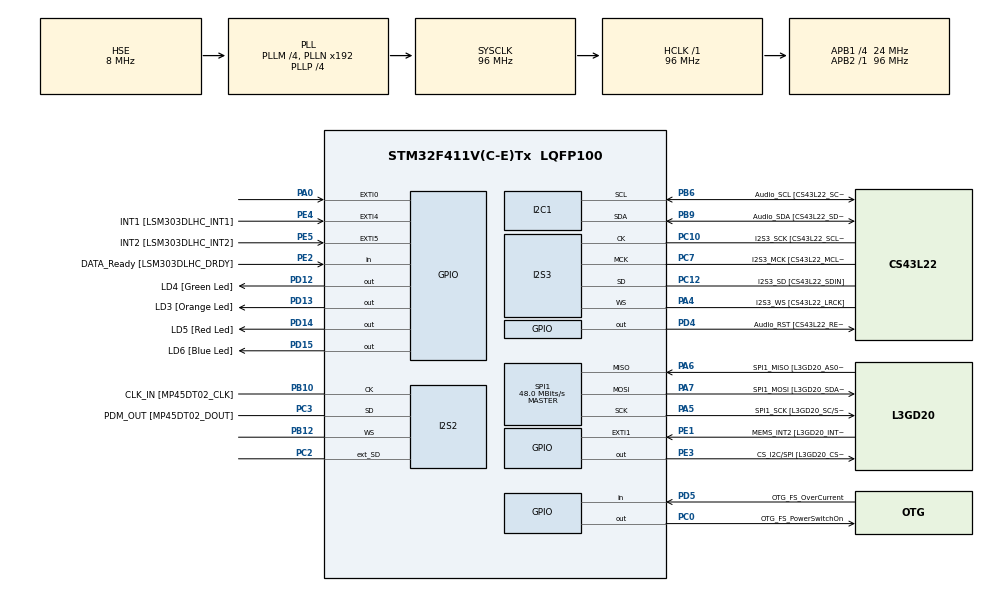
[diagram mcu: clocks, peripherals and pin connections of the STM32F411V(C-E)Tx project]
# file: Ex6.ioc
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FREERTOS.INCLUDE_vTaskDelayUntil=1
FREERTOS.Tasks01=Start_GREEN_LED,0,128,StartFlashGreenLedTask,Default,NULL,Dynamic,NULL,NULL;Start_RED_LED,1,128,StartFlashRedLedTask,Default,NULL,Dynamic,NULL,NULL
I2S2.AudioFreq=I2S_AUDIOFREQ_96K
I2S2.ErrorAudioFreq=0.15 %
I2S2.FullDuplexMode=I2S_FULLDUPLEXMODE_ENABLE
I2S2.Instance=SPI$Index
I2S2.RealAudioFreq=96.153 KHz
I2S2.VirtualMode=I2S_MODE_MASTER
I2S3.AudioFreq=I2S_AUDIOFREQ_96K
I2S3.ErrorAudioFreq=-6.99 %
I2S3.FullDuplexMode=I2S_FULLDUPLEXMODE_DISABLE
I2S3.Instance=SPI$Index
I2S3.RealAudioFreq=89.285 KHz
I2S3.VirtualMode=I2S_MODE_MASTER
Mcu.Family=STM32F4
Mcu.Name=STM32F411V(C-E)Tx
Mcu.Package=LQFP100
NVIC.PriorityGroup=NVIC_PRIORITYGROUP_4
NVIC.TIM1_UP_TIM10_IRQn=true\:15\:0\:false\:false\:true\:false\:false\:true\:true
NVIC.TimeBase=TIM1_UP_TIM10_IRQn
NVIC.TimeBaseIP=TIM1
PA0-WKUP.GPIO_ModeDefaultEXTI=GPIO_MODE_EVT_RISING
PA0-WKUP.Signal=GPXTI0
PA10.GPIO_Label=OTG_FS_ID
PA10.Signal=USB_OTG_FS_ID
PA11.GPIO_Label=OTG_FS_DM
PA11.Signal=USB_OTG_FS_DM
PA12.GPIO_Label=OTG_FS_DP
PA12.Signal=USB_OTG_FS_DP
PA13.GPIO_Label=SWDIO
PA13.Mode=Serial_Wire
PA13.Signal=SYS_JTMS-SWDIO
PA14.GPIO_Label=SWCLK
PA14.Mode=Serial_Wire
PA14.Signal=SYS_JTCK-SWCLK
PA4.GPIO_Label=I2S3_WS [CS43L22_LRCK]
PA4.GPIO_Mode=GPIO_MODE_AF_PP
PA4.GPIO_PuPd=GPIO_NOPULL
PA4.GPIO_Speed=GPIO_SPEED_FREQ_LOW
PA4.Mode=Half_Duplex_Master
PA4.Signal=I2S3_WS
PA5.GPIO_Label=SPI1_SCK [L3GD20_SC/SPC]
PA5.Mode=Full_Duplex_Master
PA5.Signal=SPI1_SCK
PA6.GPIO_Label=SPI1_MISO [L3GD20_AS0/SDO]
PA6.Mode=Full_Duplex_Master
PA6.Signal=SPI1_MISO
PA7.GPIO_Label=SPI1_MOSI [L3GD20_SDA/SDI/SDO]
PA7.Mode=Full_Duplex_Master
PA7.Signal=SPI1_MOSI
PA9.GPIO_Label=VBUS_FS
PA9.Signal=USB_OTG_FS_VBUS
PB10.GPIO_Label=CLK_IN [MP45DT02_CLK]
PB10.Mode=Full_Duplex_Master
PB10.Signal=I2S2_CK
PB12.Mode=Full_Duplex_Master
PB12.Signal=I2S2_WS
PB3.GPIO_Label=SWO
PB3.Signal=SYS_JTDO-SWO
PB6.GPIO_Label=Audio_SCL [CS43L22_SCL]
PB6.GPIO_Mode=GPIO_MODE_AF_OD
PB6.GPIO_Pu=GPIO_PULLUP
PB6.GPIO_PuPd=GPIO_NOPULL
PB6.GPIO_Speed=GPIO_SPEED_FREQ_LOW
PB6.Mode=I2C
PB6.Signal=I2C1_SCL
PB9.GPIO_Label=Audio_SDA [CS43L22_SDA]
PB9.GPIO_Mode=GPIO_MODE_AF_OD
PB9.GPIO_Pu=GPIO_PULLUP
PB9.GPIO_PuPd=GPIO_NOPULL
PB9.GPIO_Speed=GPIO_SPEED_FREQ_LOW
PB9.Mode=I2C
PB9.Signal=I2C1_SDA
PC0.GPIO_Label=OTG_FS_PowerSwitchOn
PC0.PinState=GPIO_PIN_SET
PC0.Signal=GPIO_Output
PC10.GPIO_Label=I2S3_SCK [CS43L22_SCLK]
PC10.GPIO_Mode=GPIO_MODE_AF_PP
PC10.GPIO_PuPd=GPIO_NOPULL
PC10.GPIO_Speed=GPIO_SPEED_FREQ_LOW
PC10.Mode=Half_Duplex_Master
PC10.Signal=I2S3_CK
PC12.GPIO_Label=I2S3_SD [CS43L22_SDIN]
PC12.GPIO_Mode=GPIO_MODE_AF_PP
PC12.GPIO_PuPd=GPIO_NOPULL
PC12.GPIO_Speed=GPIO_SPEED_FREQ_LOW
PC12.Mode=Half_Duplex_Master
PC12.Signal=I2S3_SD
PC14-OSC32_IN.GPIO_Label=PC14-OSC32_IN
PC14-OSC32_IN.Mode=LSE-External-Oscillator
PC14-OSC32_IN.Signal=RCC_OSC32_IN
PC15-OSC32_OUT.GPIO_Label=PC15-OSC32_OUT
PC15-OSC32_OUT.Mode=LSE-External-Oscillator
PC15-OSC32_OUT.Signal=RCC_OSC32_OUT
PC2.Mode=Full_Duplex_Master
PC2.Signal=I2S2_ext_SD
PC3.GPIO_Label=PDM_OUT [MP45DT02_DOUT]
PC3.Mode=Full_Duplex_Master
PC3.Signal=I2S2_SD
PC7.GPIO_Label=I2S3_MCK [CS43L22_MCLK]
PC7.GPIO_Mode=GPIO_MODE_AF_PP
PC7.GPIO_PuPd=GPIO_NOPULL
PC7.GPIO_Speed=GPIO_SPEED_FREQ_LOW
PC7.Mode=Master_Clock_Activated
PC7.Signal=I2S3_MCK
PD12.GPIO_Label=LD4 [Green Led]
PD12.GPIO_PuPd=GPIO_NOPULL
PD12.GPIO_Speed=GPIO_SPEED_FREQ_LOW
PD12.Signal=GPIO_Output
PD13.GPIO_Label=LD3 [Orange Led]
PD13.GPIO_PuPd=GPIO_NOPULL
PD13.GPIO_Speed=GPIO_SPEED_FREQ_LOW
PD13.Signal=GPIO_Output
PD14.GPIO_Label=LD5 [Red Led]
PD14.GPIO_PuPd=GPIO_NOPULL
PD14.GPIO_Speed=GPIO_SPEED_FREQ_LOW
PD14.Signal=GPIO_Output
PD15.GPIO_Label=LD6 [Blue Led]
PD15.GPIO_PuPd=GPIO_NOPULL
PD15.GPIO_Speed=GPIO_SPEED_FREQ_LOW
PD15.Signal=GPIO_Output
PD4.GPIO_Label=Audio_RST [CS43L22_RESET]
PD4.Signal=GPIO_Output
PD5.GPIO_Label=OTG_FS_OverCurrent
PD5.Signal=GPIO_Input
PE1.GPIO_Label=MEMS_INT2 [L3GD20_INT2]
PE1.GPIO_ModeDefaultEXTI=GPIO_MODE_EVT_RISING
PE1.Signal=GPXTI1
PE2.GPIO_Label=DATA_Ready [LSM303DLHC_DRDY]
PE2.Signal=GPIO_Input
PE3.GPIO_Label=CS_I2C/SPI [L3GD20_CS_I2C/SPI]
PE3.Signal=GPIO_Output
PE4.GPIO_Label=INT1 [LSM303DLHC_INT1]
PE4.GPIO_ModeDefaultEXTI=GPIO_MODE_EVT_RISING
PE4.Signal=GPXTI4
PE5.GPIO_Label=INT2 [LSM303DLHC_INT2]
PE5.GPIO_ModeDefaultEXTI=GPIO_MODE_EVT_RISING
PE5.Signal=GPXTI5
PH0\ -\ OSC_IN.GPIO_Label=PH0-OSC_IN
PH0\ -\ OSC_IN.Mode=HSE-External-Oscillator
PH0\ -\ OSC_IN.Signal=RCC_OSC_IN
PH1\ -\ OSC_OUT.GPIO_Label=PH1-OSC_OUT
PH1\ -\ OSC_OUT.Mode=HSE-External-Oscillator
PH1\ -\ OSC_OUT.Signal=RCC_OSC_OUT
ProjectManager.HeapSize=0x200
ProjectManager.StackSize=0x400
ProjectManager.TargetToolchain=STM32CubeIDE
RCC.48MHZClocksFreq_Value=48000000
RCC.AHBFreq_Value=96000000
RCC.APB1CLKDivider=RCC_HCLK_DIV4
RCC.APB1Freq_Value=24000000
RCC.APB1TimFreq_Value=48000000
RCC.APB2Freq_Value=96000000
RCC.APB2TimFreq_Value=96000000
RCC.CortexFreq_Value=96000000
RCC.HCLKFreq_Value=96000000
RCC.HSE_VALUE=8000000
RCC.HSI_VALUE=16000000
RCC.PLLI2SM=5
RCC.PLLI2SN=200
RCC.PLLM=4
RCC.PLLP=RCC_PLLP_DIV4
RCC.PLLQ=8
RCC.PLLSourceVirtual=RCC_PLLSOURCE_HSE
RCC.SYSCLKFreq_VALUE=96000000
RCC.SYSCLKSource=RCC_SYSCLKSOURCE_PLLCLK
RCC.VCOOutputFreq_Value=384000000
SPI1.BaudRatePrescaler=SPI_BAUDRATEPRESCALER_2
SPI1.CalculateBaudRate=48.0 MBits/s
SPI1.Direction=SPI_DIRECTION_2LINES
SPI1.Mode=SPI_MODE_MASTER
SPI1.VirtualType=VM_MASTER
VP_FREERTOS_VS_CMSIS_V1.Mode=CMSIS_V1
VP_SYS_VS_tim1.Mode=TIM1
board=STM32F411E-DISCO

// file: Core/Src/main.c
/* USER CODE BEGIN Header */
/**
  ******************************************************************************
  * @file           : main.c
  * @brief          : Main program body
  ******************************************************************************
  * @attention
  *
  * Copyright (c) 2024 STMicroelectronics.
  * All rights reserved.
  *
  * This software is licensed under terms that can be found in the LICENSE file
  * in the root directory of this software component.
  * If no LICENSE file comes with this software, it is provided AS-IS.
  *
  ******************************************************************************
  */
/* USER CODE END Header */
#include "main.h"
#include "cmsis_os.h"

/* USER CODE BEGIN PD */
#define GREEN_LED GPIO_PIN_12
#define ORANGE_LED GPIO_PIN_13
#define RED_LED GPIO_PIN_14
#define BLUE_LED GPIO_PIN_15
/* USER CODE END PD */

I2C_HandleTypeDef hi2c1;

I2S_HandleTypeDef hi2s2;
I2S_HandleTypeDef hi2s3;

SPI_HandleTypeDef hspi1;

osThreadId Start_GREEN_LEDHandle;
osThreadId Start_RED_LEDHandle;

void SystemClock_Config(void);
void PeriphCommonClock_Config(void);
static void MX_GPIO_Init(void);
static void MX_I2C1_Init(void);
static void MX_I2S2_Init(void);
static void MX_I2S3_Init(void);
static void MX_SPI1_Init(void);
void StartFlashGreenLedTask(void const * argument);
void StartFlashRedLedTask(void const * argument);

int main(void)
{

  /* MCU Configuration--------------------------------------------------------*/

  /* Reset of all peripherals, Initializes the Flash interface and the Systick. */
  HAL_Init();

  /* Configure the system clock */
  SystemClock_Config();

/* Configure the peripherals common clocks */
  PeriphCommonClock_Config();

  /* Initialize all configured peripherals */
  MX_GPIO_Init();
  MX_I2C1_Init();
  MX_I2S2_Init();
  MX_I2S3_Init();
  MX_SPI1_Init();

  /* Create the thread(s) */
  /* definition and creation of Start_GREEN_LED */
  osThreadDef(Start_GREEN_LED, StartFlashGreenLedTask, osPriorityNormal, 0, 128);
  Start_GREEN_LEDHandle = osThreadCreate(osThread(Start_GREEN_LED), NULL);

  /* definition and creation of Start_RED_LED */
  osThreadDef(Start_RED_LED, StartFlashRedLedTask, osPriorityAboveNormal, 0, 128);
  Start_RED_LEDHandle = osThreadCreate(osThread(Start_RED_LED), NULL);

  /* Start scheduler */
  osKernelStart();

  /* We should never get here as control is now taken by the scheduler */
  /* Infinite loop */
  while (1)
  {

  }
}

void SystemClock_Config(void)
{
  RCC_OscInitTypeDef RCC_OscInitStruct = {0};
  RCC_ClkInitTypeDef RCC_ClkInitStruct = {0};

  /** Configure the main internal regulator output voltage
  */
  __HAL_RCC_PWR_CLK_ENABLE();
  __HAL_PWR_VOLTAGESCALING_CONFIG(PWR_REGULATOR_VOLTAGE_SCALE1);

  /** Initializes the RCC Oscillators according to the specified parameters
  * in the RCC_OscInitTypeDef structure.
  */
  RCC_OscInitStruct.OscillatorType = RCC_OSCILLATORTYPE_HSE;
  RCC_OscInitStruct.HSEState = RCC_HSE_ON;
  RCC_OscInitStruct.PLL.PLLState = RCC_PLL_ON;
  RCC_OscInitStruct.PLL.PLLSource = RCC_PLLSOURCE_HSE;
  RCC_OscInitStruct.PLL.PLLM = 4;
  RCC_OscInitStruct.PLL.PLLN = 192;
  RCC_OscInitStruct.PLL.PLLP = RCC_PLLP_DIV4;
  RCC_OscInitStruct.PLL.PLLQ = 8;
  if (HAL_RCC_OscConfig(&RCC_OscInitStruct) != HAL_OK)
  {
    Error_Handler();
  }

  /** Initializes the CPU, AHB and APB buses clocks
  */
  RCC_ClkInitStruct.ClockType = RCC_CLOCKTYPE_HCLK|RCC_CLOCKTYPE_SYSCLK
                              |RCC_CLOCKTYPE_PCLK1|RCC_CLOCKTYPE_PCLK2;
  RCC_ClkInitStruct.SYSCLKSource = RCC_SYSCLKSOURCE_PLLCLK;
  RCC_ClkInitStruct.AHBCLKDivider = RCC_SYSCLK_DIV1;
  RCC_ClkInitStruct.APB1CLKDivider = RCC_HCLK_DIV4;
  RCC_ClkInitStruct.APB2CLKDivider = RCC_HCLK_DIV1;

  if (HAL_RCC_ClockConfig(&RCC_ClkInitStruct, FLASH_LATENCY_3) != HAL_OK)
  {
    Error_Handler();
  }
}

void PeriphCommonClock_Config(void)
{
  RCC_PeriphCLKInitTypeDef PeriphClkInitStruct = {0};

  /** Initializes the peripherals clock
  */
  PeriphClkInitStruct.PeriphClockSelection = RCC_PERIPHCLK_I2S;
  PeriphClkInitStruct.PLLI2S.PLLI2SN = 200;
  PeriphClkInitStruct.PLLI2S.PLLI2SM = 5;
  PeriphClkInitStruct.PLLI2S.PLLI2SR = 2;
  if (HAL_RCCEx_PeriphCLKConfig(&PeriphClkInitStruct) != HAL_OK)
  {
    Error_Handler();
  }
}

static void MX_I2C1_Init(void)
{

  hi2c1.Instance = I2C1;
  hi2c1.Init.ClockSpeed = 100000;
  hi2c1.Init.DutyCycle = I2C_DUTYCYCLE_2;
  hi2c1.Init.OwnAddress1 = 0;
  hi2c1.Init.AddressingMode = I2C_ADDRESSINGMODE_7BIT;
  hi2c1.Init.DualAddressMode = I2C_DUALADDRESS_DISABLE;
  hi2c1.Init.OwnAddress2 = 0;
  hi2c1.Init.GeneralCallMode = I2C_GENERALCALL_DISABLE;
  hi2c1.Init.NoStretchMode = I2C_NOSTRETCH_DISABLE;
  if (HAL_I2C_Init(&hi2c1) != HAL_OK)
  {
    Error_Handler();
  }

}

static void MX_I2S2_Init(void)
{

  hi2s2.Instance = SPI2;
  hi2s2.Init.Mode = I2S_MODE_MASTER_TX;
  hi2s2.Init.Standard = I2S_STANDARD_PHILIPS;
  hi2s2.Init.DataFormat = I2S_DATAFORMAT_16B;
  hi2s2.Init.MCLKOutput = I2S_MCLKOUTPUT_DISABLE;
  hi2s2.Init.AudioFreq = I2S_AUDIOFREQ_96K;
  hi2s2.Init.CPOL = I2S_CPOL_LOW;
  hi2s2.Init.ClockSource = I2S_CLOCK_PLL;
  hi2s2.Init.FullDuplexMode = I2S_FULLDUPLEXMODE_ENABLE;
  if (HAL_I2S_Init(&hi2s2) != HAL_OK)
  {
    Error_Handler();
  }

}

static void MX_I2S3_Init(void)
{

  hi2s3.Instance = SPI3;
  hi2s3.Init.Mode = I2S_MODE_MASTER_TX;
  hi2s3.Init.Standard = I2S_STANDARD_PHILIPS;
  hi2s3.Init.DataFormat = I2S_DATAFORMAT_16B;
  hi2s3.Init.MCLKOutput = I2S_MCLKOUTPUT_ENABLE;
  hi2s3.Init.AudioFreq = I2S_AUDIOFREQ_96K;
  hi2s3.Init.CPOL = I2S_CPOL_LOW;
  hi2s3.Init.ClockSource = I2S_CLOCK_PLL;
  hi2s3.Init.FullDuplexMode = I2S_FULLDUPLEXMODE_DISABLE;
  if (HAL_I2S_Init(&hi2s3) != HAL_OK)
  {
    Error_Handler();
  }

}

static void MX_SPI1_Init(void)
{

  /* SPI1 parameter configuration*/
  hspi1.Instance = SPI1;
  hspi1.Init.Mode = SPI_MODE_MASTER;
  hspi1.Init.Direction = SPI_DIRECTION_2LINES;
  hspi1.Init.DataSize = SPI_DATASIZE_8BIT;
  hspi1.Init.CLKPolarity = SPI_POLARITY_LOW;
  hspi1.Init.CLKPhase = SPI_PHASE_1EDGE;
  hspi1.Init.NSS = SPI_NSS_SOFT;
  hspi1.Init.BaudRatePrescaler = SPI_BAUDRATEPRESCALER_2;
  hspi1.Init.FirstBit = SPI_FIRSTBIT_MSB;
  hspi1.Init.TIMode = SPI_TIMODE_DISABLE;
  hspi1.Init.CRCCalculation = SPI_CRCCALCULATION_DISABLE;
  hspi1.Init.CRCPolynomial = 10;
  if (HAL_SPI_Init(&hspi1) != HAL_OK)
  {
    Error_Handler();
  }

}

static void MX_GPIO_Init(void)
{
  GPIO_InitTypeDef GPIO_InitStruct = {0};

  /* GPIO Ports Clock Enable */
  __HAL_RCC_GPIOE_CLK_ENABLE();
  __HAL_RCC_GPIOC_CLK_ENABLE();
  __HAL_RCC_GPIOH_CLK_ENABLE();
  __HAL_RCC_GPIOA_CLK_ENABLE();
  __HAL_RCC_GPIOB_CLK_ENABLE();
  __HAL_RCC_GPIOD_CLK_ENABLE();

  /*Configure GPIO pin Output Level */
  HAL_GPIO_WritePin(CS_I2C_SPI_GPIO_Port, CS_I2C_SPI_Pin, GPIO_PIN_RESET);

  /*Configure GPIO pin Output Level */
  HAL_GPIO_WritePin(OTG_FS_PowerSwitchOn_GPIO_Port, OTG_FS_PowerSwitchOn_Pin, GPIO_PIN_SET);

  /*Configure GPIO pin Output Level */
  HAL_GPIO_WritePin(GPIOD, LD4_Pin|LD3_Pin|LD5_Pin|LD6_Pin
                          |Audio_RST_Pin, GPIO_PIN_RESET);

  /*Configure GPIO pin : DATA_Ready_Pin */
  GPIO_InitStruct.Pin = DATA_Ready_Pin;
  GPIO_InitStruct.Mode = GPIO_MODE_INPUT;
  GPIO_InitStruct.Pull = GPIO_NOPULL;
  HAL_GPIO_Init(DATA_Ready_GPIO_Port, &GPIO_InitStruct);

  /*Configure GPIO pin : CS_I2C_SPI_Pin */
  GPIO_InitStruct.Pin = CS_I2C_SPI_Pin;
  GPIO_InitStruct.Mode = GPIO_MODE_OUTPUT_PP;
  GPIO_InitStruct.Pull = GPIO_NOPULL;
  GPIO_InitStruct.Speed = GPIO_SPEED_FREQ_LOW;
  HAL_GPIO_Init(CS_I2C_SPI_GPIO_Port, &GPIO_InitStruct);

  /*Configure GPIO pins : INT1_Pin INT2_Pin MEMS_INT2_Pin */
  GPIO_InitStruct.Pin = INT1_Pin|INT2_Pin|MEMS_INT2_Pin;
  GPIO_InitStruct.Mode = GPIO_MODE_EVT_RISING;
  GPIO_InitStruct.Pull = GPIO_NOPULL;
  HAL_GPIO_Init(GPIOE, &GPIO_InitStruct);

  /*Configure GPIO pin : OTG_FS_PowerSwitchOn_Pin */
  GPIO_InitStruct.Pin = OTG_FS_PowerSwitchOn_Pin;
  GPIO_InitStruct.Mode = GPIO_MODE_OUTPUT_PP;
  GPIO_InitStruct.Pull = GPIO_NOPULL;
  GPIO_InitStruct.Speed = GPIO_SPEED_FREQ_LOW;
  HAL_GPIO_Init(OTG_FS_PowerSwitchOn_GPIO_Port, &GPIO_InitStruct);

  /*Configure GPIO pin : PA0 */
  GPIO_InitStruct.Pin = GPIO_PIN_0;
  GPIO_InitStruct.Mode = GPIO_MODE_EVT_RISING;
  GPIO_InitStruct.Pull = GPIO_NOPULL;
  HAL_GPIO_Init(GPIOA, &GPIO_InitStruct);

  /*Configure GPIO pins : LD4_Pin LD3_Pin LD5_Pin LD6_Pin
                           Audio_RST_Pin */
  GPIO_InitStruct.Pin = LD4_Pin|LD3_Pin|LD5_Pin|LD6_Pin
                          |Audio_RST_Pin;
  GPIO_InitStruct.Mode = GPIO_MODE_OUTPUT_PP;
  GPIO_InitStruct.Pull = GPIO_NOPULL;
  GPIO_InitStruct.Speed = GPIO_SPEED_FREQ_LOW;
  HAL_GPIO_Init(GPIOD, &GPIO_InitStruct);

  /*Configure GPIO pin : VBUS_FS_Pin */
  GPIO_InitStruct.Pin = VBUS_FS_Pin;
  GPIO_InitStruct.Mode = GPIO_MODE_INPUT;
  GPIO_InitStruct.Pull = GPIO_NOPULL;
  HAL_GPIO_Init(VBUS_FS_GPIO_Port, &GPIO_InitStruct);

  /*Configure GPIO pins : OTG_FS_ID_Pin OTG_FS_DM_Pin OTG_FS_DP_Pin */
  GPIO_InitStruct.Pin = OTG_FS_ID_Pin|OTG_FS_DM_Pin|OTG_FS_DP_Pin;
  GPIO_InitStruct.Mode = GPIO_MODE_AF_PP;
  GPIO_InitStruct.Pull = GPIO_NOPULL;
  GPIO_InitStruct.Speed = GPIO_SPEED_FREQ_VERY_HIGH;
  GPIO_InitStruct.Alternate = GPIO_AF10_OTG_FS;
  HAL_GPIO_Init(GPIOA, &GPIO_InitStruct);

  /*Configure GPIO pin : OTG_FS_OverCurrent_Pin */
  GPIO_InitStruct.Pin = OTG_FS_OverCurrent_Pin;
  GPIO_InitStruct.Mode = GPIO_MODE_INPUT;
  GPIO_InitStruct.Pull = GPIO_NOPULL;
  HAL_GPIO_Init(OTG_FS_OverCurrent_GPIO_Port, &GPIO_InitStruct);

}

/* USER CODE BEGIN 4 */
int Start_Flag = 1;
void Access_Function(){
	if(Start_Flag == 1){
		Start_Flag = 0;
	}else {
		HAL_GPIO_TogglePin(GPIOD, BLUE_LED);
	}//else
	for(int i=0;i<2000000;++i);
	Start_Flag = 1;
	return;
}//access function
/* USER CODE END 4 */

void StartFlashGreenLedTask(void const * argument)
{
  /* USER CODE BEGIN 5 */
  /* Infinite loop */
  for(;;)
  {
	  /*Exercise 6*/
	  HAL_GPIO_WritePin(GPIOD, GREEN_LED, GPIO_PIN_SET);//green on
	  taskENTER_CRITICAL();//disable interrupts - suspends the scheduler
	  Access_Function();
	  taskEXIT_CRITICAL();//enable interrupts - resume the scheduler
	  HAL_GPIO_WritePin(GPIOD, GREEN_LED, GPIO_PIN_RESET);;//green off
	  osDelay(500);//0.5 second delay
	  /**/
  }
  /* USER CODE END 5 */
}

void StartFlashRedLedTask(void const * argument)
{
  /* USER CODE BEGIN StartFlashRedLedTask */
  /* Infinite loop */
  for(;;)
  {
	  /*Exercise 6*/
	  HAL_GPIO_WritePin(GPIOD, RED_LED, GPIO_PIN_SET);//red on
	  taskENTER_CRITICAL();//disable interrupts - suspends the scheduler
	  Access_Function();
	  taskEXIT_CRITICAL();//enable interrupts - resume the scheduler
	  HAL_GPIO_WritePin(GPIOD, RED_LED, GPIO_PIN_RESET);//red off
	  osDelay(100);//0.5 second delay
	  /**/
  }
  /* USER CODE END StartFlashRedLedTask */
}

void HAL_TIM_PeriodElapsedCallback(TIM_HandleTypeDef *htim)
{
  if (htim->Instance == TIM1) {
    HAL_IncTick();
  }
}

void Error_Handler(void)
{
  __disable_irq();
  while (1)
  {
  }
}
